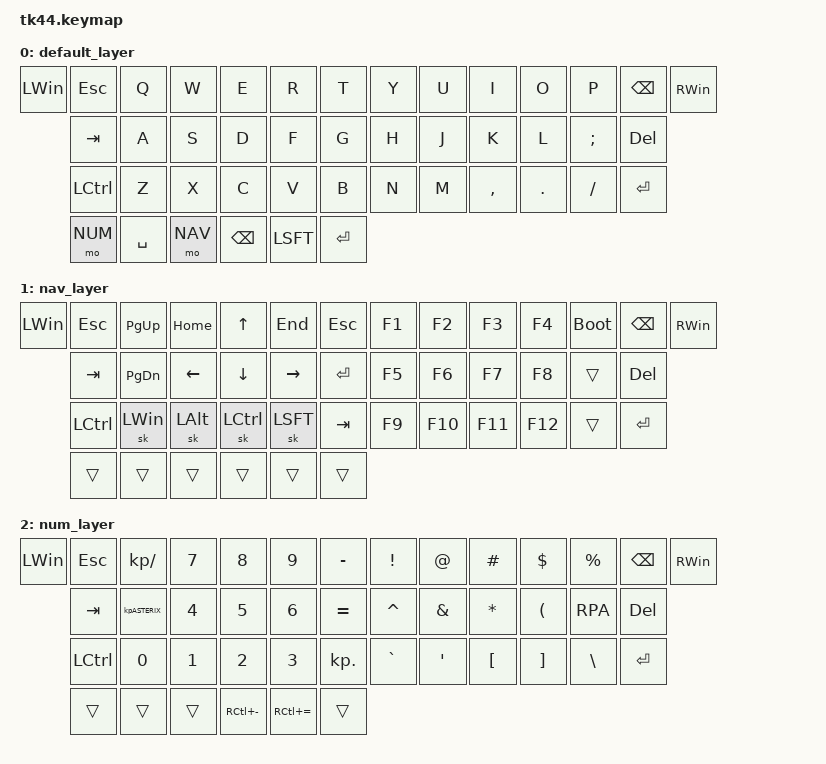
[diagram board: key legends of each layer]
/*
 * Copyright (c) 2020 The ZMK Contributors
 *
 * SPDX-License-Identifier: MIT
 */

#include <behaviors.dtsi>
#include <dt-bindings/zmk/keys.h>
#include <dt-bindings/zmk/bt.h>
#include <dt-bindings/zmk/outputs.h>

#define DEF 0
#define NAV 1
#define NUM 2

&lt { quick-tap-ms = <200>; };
&mt { quick-tap-ms = <200>; };

/ {
        keymap {
                compatible = "zmk,keymap";

                default_layer {
                        bindings = <
&kp LWIN &kp ESC   &kp Q          &kp W    &kp E         &kp R         &kp T      &kp Y     &kp U    &kp I     &kp O    &kp P       &kp BSPC &kp RWIN
         &kp TAB   &kp A          &kp S    &kp D         &kp F         &kp G      &kp H     &kp J    &kp K     &kp L    &kp SEMI    &kp DEL  
         &kp LCTRL &kp Z          &kp X    &kp C         &kp V         &kp B      &kp N     &kp M    &kp COMMA &kp DOT  &kp SLASH   &kp RET  
         &mo NUM   &kp SPACE      &mo NAV    &kp BSPC         &kp LSFT      &kp RET
                        >;
                };
                nav_layer {
                        bindings = <
&kp LWIN &kp ESC   &kp PG_UP      &kp HOME &kp UP        &kp END       &kp ESC    &kp F1    &kp F2   &kp F3    &kp F4   &bootloader &kp BSPC &kp RWIN
         &kp TAB   &kp PG_DN      &kp LEFT &kp DOWN      &kp RIGHT     &kp RET    &kp F5    &kp F6   &kp F7    &kp F8   &trans      &kp DEL  
         &kp LCTRL &sk LWIN       &sk LALT &sk LCTL      &sk LSFT      &kp TAB    &kp F9    &kp F10  &kp F11   &kp F12  &trans      &kp RET  
         &trans    &trans         &trans   &trans        &trans        &trans
                        >;
                };

                num_layer {
                        bindings = <
&kp LWIN &kp ESC   &kp KP_DIVIDE  &kp N7   &kp N8        &kp N9        &kp MINUS  &kp EXCL  &kp AT   &kp HASH  &kp DLLR &kp PRCNT   &kp BSPC &kp RWIN
         &kp TAB   &kp KP_ASTERIX &kp N4   &kp N5        &kp N6        &kp EQUAL  &kp CARET &kp AMPS &kp STAR  &kp LPAR &kp RPA     &kp DEL  
         &kp LCTRL &kp N0         &kp N1   &kp N2        &kp N3        &kp KP_DOT &kp GRAVE &kp SQT  &kp LBKT  &kp RBKT &kp BSLH    &kp RET  
         &trans    &trans         &trans   &kp RC(MINUS) &kp RC(EQUAL) &trans 
                        >;
                };
        };
};
